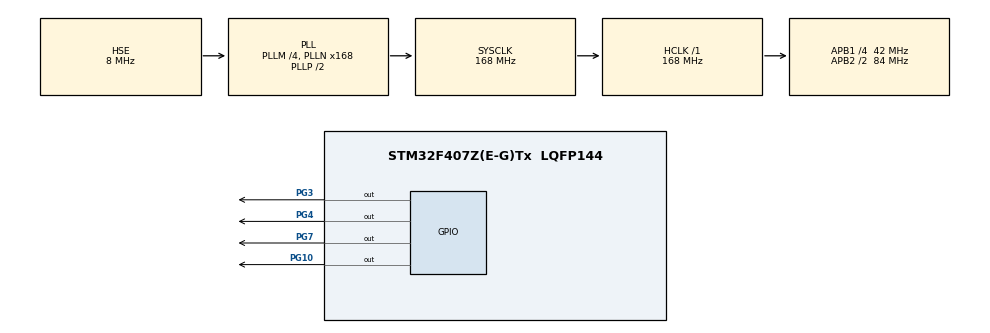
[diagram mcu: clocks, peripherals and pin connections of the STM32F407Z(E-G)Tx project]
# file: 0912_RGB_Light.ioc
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Mcu.Family=STM32F4
Mcu.Name=STM32F407Z(E-G)Tx
Mcu.Package=LQFP144
NVIC.PriorityGroup=NVIC_PRIORITYGROUP_4
PA13.Mode=Serial_Wire
PA13.Signal=SYS_JTMS-SWDIO
PA14.Mode=Serial_Wire
PA14.Signal=SYS_JTCK-SWCLK
PG10.Signal=GPIO_Output
PG3.Signal=GPIO_Output
PG4.Signal=GPIO_Output
PG7.Signal=GPIO_Output
PH0-OSC_IN.Mode=HSE-External-Oscillator
PH0-OSC_IN.Signal=RCC_OSC_IN
PH1-OSC_OUT.Mode=HSE-External-Oscillator
PH1-OSC_OUT.Signal=RCC_OSC_OUT
ProjectManager.HeapSize=0x200
ProjectManager.StackSize=0x400
ProjectManager.TargetToolchain=CMake
RCC.48MHZClocksFreq_Value=84000000
RCC.AHBFreq_Value=168000000
RCC.APB1CLKDivider=RCC_HCLK_DIV4
RCC.APB1Freq_Value=42000000
RCC.APB1TimFreq_Value=84000000
RCC.APB2CLKDivider=RCC_HCLK_DIV2
RCC.APB2Freq_Value=84000000
RCC.APB2TimFreq_Value=168000000
RCC.CortexFreq_Value=168000000
RCC.HCLKFreq_Value=168000000
RCC.HSE_VALUE=8000000
RCC.HSI_VALUE=16000000
RCC.LSE_VALUE=32768
RCC.PLLM=4
RCC.PLLN=168
RCC.PLLSourceVirtual=RCC_PLLSOURCE_HSE
RCC.SYSCLKFreq_VALUE=168000000
RCC.SYSCLKSource=RCC_SYSCLKSOURCE_PLLCLK
RCC.VCOOutputFreq_Value=336000000
board=custom

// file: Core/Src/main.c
/* USER CODE BEGIN Header */
/**
  ******************************************************************************
  * @file           : main.c
  * @brief          : Main program body
  ******************************************************************************
  * @attention
  *
  * Copyright (c) 2025 STMicroelectronics.
  * All rights reserved.
  *
  * This software is licensed under terms that can be found in the LICENSE file
  * in the root directory of this software component.
  * If no LICENSE file comes with this software, it is provided AS-IS.
  *
  ******************************************************************************
  */
/* USER CODE END Header */
#include "main.h"
#include "gpio.h"

void SystemClock_Config(void);

void beep_shuzhang( ) {
  HAL_GPIO_WritePin(GPIOG, GPIO_PIN_7, 1);
}
void beep_shousuo( ) {
  HAL_GPIO_WritePin(GPIOG, GPIO_PIN_7, 0);
}

void led_red(void) {
//r g3 b g4  b  g10
  HAL_GPIO_WritePin(GPIOG,GPIO_PIN_3,0);
  HAL_GPIO_WritePin(GPIOG,GPIO_PIN_4,1);
  HAL_GPIO_WritePin(GPIOG,GPIO_PIN_10,1);

}
void led_green(void) {
  //r g3 G g4  b  g10
  HAL_GPIO_WritePin(GPIOG,GPIO_PIN_3,1);
  HAL_GPIO_WritePin(GPIOG,GPIO_PIN_4,1);
  HAL_GPIO_WritePin(GPIOG,GPIO_PIN_10,0);
}
void led_blue(void) {
  //r g3 blue g4  green g10
  HAL_GPIO_WritePin(GPIOG,GPIO_PIN_3,1);
  HAL_GPIO_WritePin(GPIOG,GPIO_PIN_4,0);
  HAL_GPIO_WritePin(GPIOG,GPIO_PIN_10,1);
}
void led_yellow(void) {
  //r g3 b g4  g  g10
  HAL_GPIO_WritePin(GPIOG,GPIO_PIN_3,0);
  HAL_GPIO_WritePin(GPIOG,GPIO_PIN_4,1);
  HAL_GPIO_WritePin(GPIOG,GPIO_PIN_10,0);
}
void led_off(void) {
  HAL_GPIO_WritePin(GPIOG,GPIO_PIN_3,1);
  HAL_GPIO_WritePin(GPIOG,GPIO_PIN_4,1);
  HAL_GPIO_WritePin(GPIOG,GPIO_PIN_10,1);

}

int main(void)
{

  /* MCU Configuration--------------------------------------------------------*/

  /* Reset of all peripherals, Initializes the Flash interface and the Systick. */
  HAL_Init();

  /* Configure the system clock */
  SystemClock_Config();

  /* Initialize all configured peripherals */
  MX_GPIO_Init();

  /* Infinite loop */
  /* USER CODE BEGIN WHILE */
  while (1)
  {
    //红灯亮50秒
    led_red() ;
    HAL_Delay(5000);

    //绿灯亮30秒
    led_green();
    HAL_Delay(3000);

    //绿灯闪烁10秒
     led_green();
    beep_shuzhang();
    HAL_Delay(1000);
    led_off();
    beep_shuzhang();
    HAL_Delay(1000);

    led_green();
    beep_shuzhang();
    HAL_Delay(1000);
    led_off();
    beep_shuzhang();
    HAL_Delay(1000);

    led_green();
    beep_shuzhang();
    HAL_Delay(1000);
    led_off();
    beep_shuzhang();
    HAL_Delay(1000);

    led_green();
    beep_shuzhang();
    HAL_Delay(1000);
    led_off();
    beep_shuzhang();
    HAL_Delay(1000);

    led_green();
    beep_shuzhang();
    HAL_Delay(1000);
    led_off();
    beep_shuzhang();
    HAL_Delay(1000);

   //黄灯长亮5秒
    led_yellow();
    HAL_Delay(5000);

    //黄灯闪烁5秒
    led_yellow();
    HAL_Delay(1000);
    led_off();
    HAL_Delay(1000);
    led_yellow();
    HAL_Delay(1000);
    led_off();
    HAL_Delay(1000);
    led_yellow();
    HAL_Delay(1000);
    led_off();

    /* USER CODE END WHILE */

  }
}

void SystemClock_Config(void)
{
  RCC_OscInitTypeDef RCC_OscInitStruct = {0};
  RCC_ClkInitTypeDef RCC_ClkInitStruct = {0};

  /** Configure the main internal regulator output voltage
  */
  __HAL_RCC_PWR_CLK_ENABLE();
  __HAL_PWR_VOLTAGESCALING_CONFIG(PWR_REGULATOR_VOLTAGE_SCALE1);

  /** Initializes the RCC Oscillators according to the specified parameters
  * in the RCC_OscInitTypeDef structure.
  */
  RCC_OscInitStruct.OscillatorType = RCC_OSCILLATORTYPE_HSE;
  RCC_OscInitStruct.HSEState = RCC_HSE_ON;
  RCC_OscInitStruct.PLL.PLLState = RCC_PLL_ON;
  RCC_OscInitStruct.PLL.PLLSource = RCC_PLLSOURCE_HSE;
  RCC_OscInitStruct.PLL.PLLM = 4;
  RCC_OscInitStruct.PLL.PLLN = 168;
  RCC_OscInitStruct.PLL.PLLP = RCC_PLLP_DIV2;
  RCC_OscInitStruct.PLL.PLLQ = 4;
  if (HAL_RCC_OscConfig(&RCC_OscInitStruct) != HAL_OK)
  {
    Error_Handler();
  }

  /** Initializes the CPU, AHB and APB buses clocks
  */
  RCC_ClkInitStruct.ClockType = RCC_CLOCKTYPE_HCLK|RCC_CLOCKTYPE_SYSCLK
                              |RCC_CLOCKTYPE_PCLK1|RCC_CLOCKTYPE_PCLK2;
  RCC_ClkInitStruct.SYSCLKSource = RCC_SYSCLKSOURCE_PLLCLK;
  RCC_ClkInitStruct.AHBCLKDivider = RCC_SYSCLK_DIV1;
  RCC_ClkInitStruct.APB1CLKDivider = RCC_HCLK_DIV4;
  RCC_ClkInitStruct.APB2CLKDivider = RCC_HCLK_DIV2;

  if (HAL_RCC_ClockConfig(&RCC_ClkInitStruct, FLASH_LATENCY_5) != HAL_OK)
  {
    Error_Handler();
  }
}

void Error_Handler(void)
{
  /* USER CODE BEGIN Error_Handler_Debug */
  /* User can add his own implementation to report the HAL error return state */
  __disable_irq();
  while (1)
  {
    HAL_GPIO_WritePin(GPIOG,GPIO_PIN_3,0);
    HAL_GPIO_WritePin(GPIOG,GPIO_PIN_4,0);
    HAL_GPIO_WritePin(GPIOG,GPIO_PIN_10,1);
  }
  /* USER CODE END Error_Handler_Debug */
}
